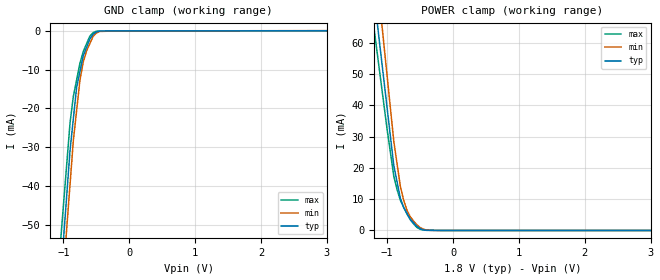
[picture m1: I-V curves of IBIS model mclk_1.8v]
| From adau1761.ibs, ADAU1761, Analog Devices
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[Model] mclk_1.8v
Model_type Input
Vinl = 540.000mV
Vinh = 1.26000V
C_comp 856.000fF 813.200fF 898.800fF
| variable typ   min   max
[Voltage Range] 1.80000V 1.62000V 1.98000V
[POWER Clamp Reference] 1.80000V 1.62000V 1.98000V
[GND Clamp Reference] 0.00000V 0.00000V 0.00000V
[Temperature Range]   25   85   -40
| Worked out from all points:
|   GND clamp passes 1 mA (typ) near -0.55 V on its own axis
|   POWER clamp passes 1 mA (typ) near -0.53 V on its own axis
[GND Clamp]
-1.8V     -239.1mA   -242.3mA   -215mA
-900mV    -30.8mA    -39.59mA   -23.74mA
-850mV    -22.71mA   -28.32mA   -16.93mA
-800mV    -14.62mA   -20.56mA   -12.67mA
-750mV    -10.53mA   -12.79mA   -8.409mA
-700mV    -6.454mA   -8.107mA   -5.355mA
-650mV    -4.304mA   -5.218mA   -3.386mA
-600mV    -2.153mA   -3.327mA   -1.417mA
-550mV    -890.4uA   -1.436mA   -459.2uA
-450mV    -61.24uA   -165.4uA   -86.48uA
-225mV    -11.42uA   -35.01uA   -16.8uA
3.6V      27.48uA    64.44uA    22.12uA
[POWER Clamp]
-1.8V     184.1mA    214.1mA    162mA
-1.1V     57.06mA    69.76mA    48.34mA
-1V       38.91mA    49.14mA    32.1mA
-900mV    20.77mA    28.52mA    17.38mA
-850mV    15.52mA    21.28mA    13.08mA
-800mV    10.27mA    14.03mA    9.635mA
-750mV    7.317mA    9.658mA    7.464mA
-700mV    5.467mA    6.497mA    5.294mA
-600mV    2.477mA    2.999mA    2.117mA
-500mV    608.2uA    935.5uA    384.5uA
-300mV    19.62uA    10.93uA    71.63uA
3.6V      0A         0A         0A
